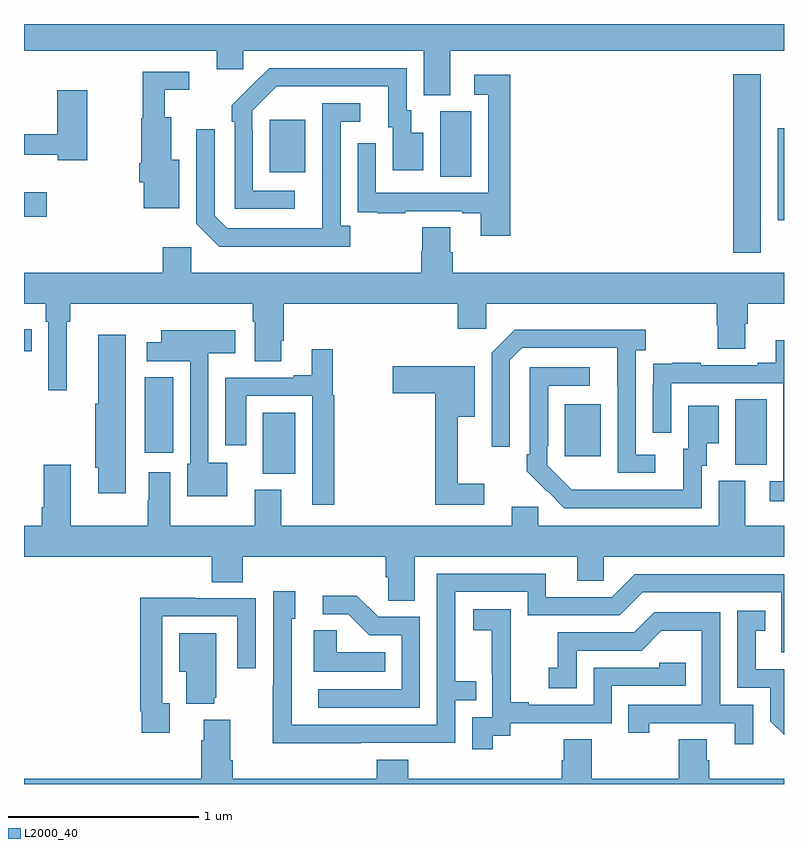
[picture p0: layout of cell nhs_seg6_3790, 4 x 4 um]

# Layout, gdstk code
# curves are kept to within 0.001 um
import gdstk
lib = gdstk.Library(unit=1e-6, precision=1e-09)
def R(c, l, rs):  # rectangles x0, y0, x1, y1
    for r in rs: c.add(gdstk.rectangle(r[:2], r[2:], *l))
def P(c, l, *ps):  # polygons
    for p in ps: c.add(gdstk.Polygon(p, *l))
L2000_40 = (2000, 40)

nhs_seg6_3790 = lib.new_cell('nhs_seg6_3790')
R(nhs_seg6_3790, L2000_40, [(336.257,921.134,336.427,921.454), (338.744,921.181,338.908,921.524), (337.847,921.225,338.035,921.499), (335.636,921.243,335.785,921.641), (335,921.778,335.042,921.894), (338.732,922.296,338.878,923.236), (338.967,922.467,339,922.951), (335,922.486,335.119,922.615), (337.19,922.696,337.354,923.04), (336.293,922.721,336.481,922.996)])
P(nhs_seg6_3790, L2000_40, [(337.243,923.36),(339,923.36),(339,923.5),(335,923.5),(335,923.36),(336.014,923.36),(336.014,923.262),(336.153,923.262),(336.153,923.36),(337.103,923.36),(337.103,923.125),(337.243,923.125)],
  [(336.424,922.623),(336.204,922.623),(336.204,922.943),(336.201,922.943),(336.201,923.043),(336.33,923.172),(336.917,923.172),(336.917,922.956),(336.941,922.956),(336.941,922.731),(337.102,922.731),(337.102,922.927),(337.039,922.927),(337.039,923.046),(337.014,923.046),(337.014,923.268),(336.29,923.268),(336.093,923.073),(336.093,922.985),(336.108,922.985),(336.108,922.527),(336.424,922.527)],
  [(335.818,922.786),(335.776,922.786),(335.776,923.008),(335.74,923.008),(335.74,923.153),(335.869,923.153),(335.869,923.25),(335.626,923.25),(335.626,923.004),(335.618,923.004),(335.618,922.768),(335.606,922.768),(335.606,922.668),(335.63,922.668),(335.63,922.529),(335.818,922.529)],
  [(337.559,923.233),(337.371,923.233),(337.371,923.127),(337.443,923.127),(337.443,922.611),(336.852,922.611),(336.852,922.873),(336.756,922.873),(336.756,922.618),(336.757,922.618),(336.757,922.509),(336.859,922.509),(336.859,922.503),(337.007,922.503),(337.007,922.515),(337.307,922.515),(337.307,922.503),(337.403,922.503),(337.403,922.386),(337.559,922.386)],
  [(335.332,923.152),(335.174,923.152),(335.174,922.921),(335,922.921),(335,922.811),(335.178,922.811),(335.178,922.784),(335.332,922.784)],
  [(336.718,922.438),(336.666,922.438),(336.666,922.986),(336.769,922.986),(336.769,923.082),(336.57,923.082),(336.569,922.425),(336.069,922.425),(336.003,922.491),(336.003,922.945),(335.907,922.945),(335.907,922.449),(336.028,922.328),(336.718,922.328)],
  [(335.224,921.932),(335.243,921.932),(335.243,922.028),(336.203,922.028),(336.203,921.932),(336.215,921.932),(336.215,921.724),(336.355,921.724),(336.355,921.832),(336.368,921.832),(336.368,922.028),(337.283,922.028),(337.283,921.897),(337.434,921.897),(337.434,922.028),(338.645,922.028),(338.645,921.915),(338.65,921.915),(338.65,921.79),(338.797,921.79),(338.797,921.922),(338.81,921.922),(338.81,922.028),(339,922.028),(339,922.192),(337.256,922.192),(337.256,922.298),(337.243,922.298),(337.243,922.43),(337.096,922.43),(337.096,922.305),(337.091,922.305),(337.091,922.192),(335.88,922.192),(335.88,922.324),(335.729,922.324),(335.729,922.192),(335,922.192),(335,922.028),(335.114,922.028),(335.114,921.932),(335.127,921.932),(335.127,921.573),(335.224,921.573)],
  [(338.323,921.234),(338.22,921.234),(338.22,921.782),(338.272,921.782),(338.272,921.892),(337.582,921.892),(337.461,921.771),(337.461,921.276),(337.557,921.276),(337.557,921.729),(337.623,921.795),(338.123,921.795),(338.124,921.138),(338.323,921.138)],
  [(336.07,921.19),(335.97,921.19),(335.97,921.767),(336.112,921.767),(336.112,921.889),(335.723,921.889),(335.723,921.824),(335.646,921.824),(335.646,921.726),(335.874,921.726),(335.874,921.186),(335.858,921.186),(335.858,921.014),(336.07,921.014)],
  [(335.536,921.865),(335.39,921.865),(335.39,921.501),(335.375,921.501),(335.375,921.165),(335.39,921.165),(335.39,921.03),(335.536,921.03)],
  [(339,921.835),(338.957,921.835),(338.957,921.718),(338.861,921.718),(338.861,921.705),(338.561,921.705),(338.561,921.718),(338.413,921.718),(338.413,921.711),(338.311,921.711),(338.311,921.602),(338.31,921.602),(338.31,921.348),(338.406,921.348),(338.406,921.609),(338.997,921.609),(338.997,921.093),(338.925,921.093),(338.925,920.988),(339,920.988)],
  [(336.632,921.546),(336.625,921.546),(336.625,921.787),(336.515,921.787),(336.515,921.652),(336.419,921.652),(336.419,921.639),(336.059,921.639),(336.059,921.282),(336.169,921.282),(336.169,921.543),(336.516,921.543),(336.516,920.97),(336.632,920.97)],
  [(337.423,921.079),(337.283,921.079),(337.283,921.434),(337.372,921.434),(337.372,921.699),(336.942,921.699),(336.942,921.557),(337.165,921.557),(337.165,920.97),(337.423,920.97)],
  [(338.568,921.174),(338.593,921.174),(338.593,921.293),(338.656,921.293),(338.656,921.49),(338.495,921.49),(338.495,921.264),(338.471,921.264),(338.471,921.048),(337.884,921.049),(337.755,921.177),(337.755,921.277),(337.758,921.277),(337.758,921.597),(337.978,921.597),(337.978,921.693),(337.662,921.693),(337.662,921.235),(337.647,921.235),(337.647,921.147),(337.844,920.952),(338.568,920.952)],
  [(337.057,920.696),(337.913,920.696),(337.913,920.569),(338.052,920.569),(338.052,920.696),(339,920.696),(339,920.86),(338.797,920.86),(338.797,921.096),(338.657,921.096),(338.657,920.86),(337.707,920.86),(337.707,920.958),(337.568,920.958),(337.568,920.86),(336.355,920.86),(336.355,921.049),(336.215,921.049),(336.215,920.86),(335.77,920.86),(335.77,921.142),(335.657,921.142),(335.657,920.993),(335.65,920.993),(335.65,920.86),(335.245,920.86),(335.245,921.181),(335.105,921.181),(335.105,920.956),(335.093,920.956),(335.093,920.86),(335,920.86),(335,920.696),(335.987,920.696),(335.987,920.563),(336.152,920.563),(336.152,920.696),(336.905,920.696),(336.905,920.587),(336.918,920.587),(336.918,920.464),(337.057,920.464)],
  [(336.773,919.716),(337.269,919.716),(337.269,919.941),(337.379,919.941),(337.379,920.042),(337.269,920.042),(337.269,920.511),(337.65,920.511),(337.65,920.388),(338.136,920.388),(338.256,920.508),(338.985,920.508),(338.985,920.193),(339,920.193),(339,920.604),(338.214,920.604),(338.094,920.484),(337.747,920.484),(337.747,920.607),(337.173,920.607),(337.173,919.812),(336.408,919.812),(336.408,920.37),(336.427,920.37),(336.427,920.515),(336.312,920.515),(336.312,920.021),(336.31,920.021),(336.31,919.715)],
  [(337.083,920.379),(336.864,920.379),(336.751,920.492),(336.573,920.492),(336.573,920.394),(336.707,920.394),(336.818,920.283),(336.987,920.283),(336.987,919.998),(336.549,919.998),(336.549,919.902),(337.083,919.902)],
  [(335.767,919.926),(335.727,919.926),(335.727,920.382),(336.123,920.382),(336.123,920.109),(336.219,920.109),(336.219,920.478),(335.903,920.478),(335.903,920.48),(335.611,920.48),(335.611,919.882),(335.619,919.882),(335.619,919.77),(335.767,919.77)],
  [(337.468,919.753),(337.56,919.753),(337.56,919.821),(338.094,919.821),(338.094,920.016),(338.483,920.016),(338.483,920.139),(338.343,920.139),(338.343,920.112),(337.998,920.112),(337.998,919.917),(337.657,919.917),(337.657,919.93),(337.562,919.93),(337.562,920.213),(337.563,920.213),(337.563,920.419),(337.365,920.419),(337.365,920.309),(337.463,920.309),(337.463,920.081),(337.464,920.081),(337.464,919.851),(337.359,919.851),(337.359,919.683),(337.468,919.683)],
  [(339,920.103),(338.851,920.103),(338.851,920.307),(338.9,920.307),(338.9,920.413),(338.754,920.413),(338.754,920.007),(338.928,920.007),(338.928,919.83),(339,919.759)],
  [(338.838,919.917),(338.664,919.917),(338.664,920.403),(338.318,920.403),(338.213,920.298),(337.81,920.298),(337.81,920.113),(337.761,920.113),(337.761,920.004),(337.908,920.004),(337.908,920.202),(338.25,920.202),(338.354,920.306),(338.568,920.306),(338.568,919.917),(338.179,919.917),(338.179,919.77),(338.29,919.77),(338.29,919.821),(338.741,919.821),(338.741,919.71),(338.838,919.71)],
  [(336.902,920.194),(336.645,920.194),(336.645,920.309),(336.524,920.309),(336.524,920.09),(336.902,920.09)],
  [(336.002,919.953),(336.013,919.953),(336.013,920.293),(335.816,920.293),(335.816,920.09),(335.855,920.09),(335.855,919.922),(336.002,919.922)],
  [(339,919.528),(338.606,919.528),(338.606,919.626),(338.593,919.626),(338.593,919.736),(338.446,919.736),(338.446,919.528),(337.989,919.528),(337.989,919.736),(337.841,919.736),(337.841,919.626),(337.829,919.626),(337.829,919.528),(337.022,919.528),(337.022,919.627),(336.857,919.627),(336.857,919.528),(336.098,919.528),(336.098,919.624),(336.085,919.624),(336.085,919.837),(335.945,919.837),(335.945,919.73),(335.933,919.73),(335.933,919.528),(335,919.528),(335,919.5),(339,919.5)])

lib.write_gds('nhs_seg6_3790.gds')
